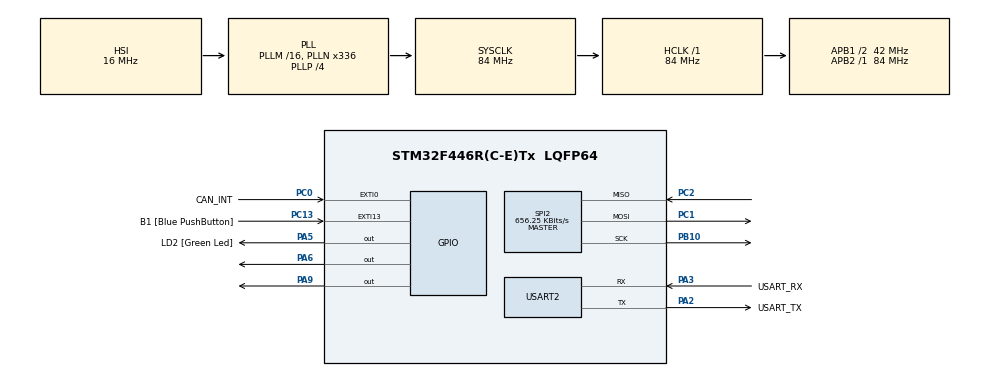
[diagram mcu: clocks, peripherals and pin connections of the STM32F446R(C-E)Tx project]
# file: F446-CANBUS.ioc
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Mcu.Family=STM32F4
Mcu.Name=STM32F446R(C-E)Tx
Mcu.Package=LQFP64
NVIC.PriorityGroup=NVIC_PRIORITYGROUP_0
PA13.GPIO_Label=TMS
PA13.Mode=Serial_Wire
PA13.Signal=SYS_JTMS-SWDIO
PA14.GPIO_Label=TCK
PA14.Mode=Serial_Wire
PA14.Signal=SYS_JTCK-SWCLK
PA2.GPIO_Label=USART_TX
PA2.Mode=Asynchronous
PA2.Signal=USART2_TX
PA3.GPIO_Label=USART_RX
PA3.Mode=Asynchronous
PA3.Signal=USART2_RX
PA5.GPIO_Label=LD2 [Green Led]
PA5.Signal=GPIO_Output
PA6.Signal=GPIO_Output
PA9.Signal=GPIO_Output
PB10.Mode=Full_Duplex_Master
PB10.Signal=SPI2_SCK
PB3.GPIO_Label=SWO
PB3.Signal=SYS_JTDO-SWO
PC0.GPIO_Label=CAN_INT
PC0.GPIO_ModeDefaultEXTI=GPIO_MODE_IT_RISING_FALLING
PC0.GPIO_PuPd=GPIO_NOPULL
PC0.Signal=GPXTI0
PC1.Mode=Full_Duplex_Master
PC1.Signal=SPI2_MOSI
PC13.GPIO_Label=B1 [Blue PushButton]
PC13.GPIO_ModeDefaultEXTI=GPIO_MODE_IT_FALLING
PC13.Signal=GPXTI13
PC14-OSC32_IN.Mode=LSE-External-Oscillator
PC14-OSC32_IN.Signal=RCC_OSC32_IN
PC15-OSC32_OUT.Mode=LSE-External-Oscillator
PC15-OSC32_OUT.Signal=RCC_OSC32_OUT
PC2.Mode=Full_Duplex_Master
PC2.Signal=SPI2_MISO
PH0-OSC_IN.Mode=HSE-External-Oscillator
PH0-OSC_IN.Signal=RCC_OSC_IN
PH1-OSC_OUT.Mode=HSE-External-Oscillator
PH1-OSC_OUT.Signal=RCC_OSC_OUT
ProjectManager.HeapSize=0x200
ProjectManager.StackSize=0x400
ProjectManager.TargetToolchain=STM32CubeIDE
RCC.48MHZClocksFreq_Value=84000000
RCC.AHBFreq_Value=84000000
RCC.APB1CLKDivider=RCC_HCLK_DIV2
RCC.APB1Freq_Value=42000000
RCC.APB1TimFreq_Value=84000000
RCC.APB2Freq_Value=84000000
RCC.APB2TimFreq_Value=84000000
RCC.CortexFreq_Value=84000000
RCC.FLatency-AdvancedSettings=FLASH_LATENCY_2
RCC.HCLKFreq_Value=84000000
RCC.HSE_VALUE=8000000
RCC.HSI_VALUE=16000000
RCC.PLLN=336
RCC.PLLP=RCC_PLLP_DIV4
RCC.SYSCLKFreq_VALUE=84000000
RCC.SYSCLKSource=RCC_SYSCLKSOURCE_PLLCLK
RCC.USBFreq_Value=168000000
RCC.VCOOutputFreq_Value=336000000
SPI2.BaudRatePrescaler=SPI_BAUDRATEPRESCALER_64
SPI2.CalculateBaudRate=656.25 KBits/s
SPI2.Direction=SPI_DIRECTION_2LINES
SPI2.Mode=SPI_MODE_MASTER
SPI2.VirtualType=VM_MASTER
USART2.VirtualMode=VM_ASYNC
board=NUCLEO-F446RE

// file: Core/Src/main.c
/* USER CODE BEGIN Header */
/**
  ******************************************************************************
  * @file           : main.c
  * @brief          : Main program body
  ******************************************************************************
  * @attention
  *
  * Copyright (c) 2023 STMicroelectronics.
  * All rights reserved.
  *
  * This software is licensed under terms that can be found in the LICENSE file
  * in the root directory of this software component.
  * If no LICENSE file comes with this software, it is provided AS-IS.
  *
  ******************************************************************************
  */
/* USER CODE END Header */
#include "main.h"

/* USER CODE BEGIN Includes */
#include "InternalCommsModule.h"
#include "CANDriver.h"
#include "SerialDebugDriver.h"
#define DebugPrint(...) SerialPrintln(__VA_ARGS__)
/* USER CODE END Includes */

SPI_HandleTypeDef hspi2;

UART_HandleTypeDef huart2;

void SystemClock_Config(void);
static void MX_GPIO_Init(void);
static void MX_USART2_UART_Init(void);
static void MX_SPI2_Init(void);

int main(void)
{

  /* MCU Configuration--------------------------------------------------------*/

  /* Reset of all peripherals, Initializes the Flash interface and the Systick. */
  HAL_Init();

  /* Configure the system clock */
  SystemClock_Config();

  /* Initialize all configured peripherals */
  MX_GPIO_Init();
  MX_USART2_UART_Init();
  MX_SPI2_Init();

  /* Infinite loop */
  /* USER CODE BEGIN WHILE */
  IComms_Init();
  uint8_t testTxCounter = 0;
  while (1)
  {
	  HAL_Delay(1000);
	  DebugPrint("test");
	  iCommsMessage_t txMsg;
	txMsg.standardMessageID = CAN_THROTTLE;
	txMsg.dataLength = 4;
	txMsg.data[0] = 0;
	txMsg.data[1] = 0;
	txMsg.data[2] = 0;
	txMsg.data[3] = 4;
	/*txMsg.data[4] = 5;
	txMsg.data[5] = 6;
	txMsg.data[6] = 7;
	txMsg.data[7] = 8;*/
	testTxCounter++;
	if(testTxCounter == 10)
	{
		DebugPrint("Sending!");
		IComms_Transmit(&txMsg);
		testTxCounter =0;
	}

	IComms_Update();
	while(IComms_HasRxMessage())
	{
		iCommsMessage_t rxMsg;
		result_t ret = IComms_ReceiveNextMessage(&rxMsg);
		if(ret == RESULT_FAIL)
		{
			DebugPrint("#ICT: Error Retrieving next message");
		}
		else{
			DebugPrint("Standard ID: %d", rxMsg.standardMessageID);
			DebugPrint("DLC: %d", rxMsg.dataLength);
			for(uint8_t i=0; i<rxMsg.dataLength; i++) DebugPrint("Data[%d]: %d", i, rxMsg.data[i]);
		}

	}
    /* USER CODE END WHILE */

  }
}

void SystemClock_Config(void)
{
  RCC_OscInitTypeDef RCC_OscInitStruct = {0};
  RCC_ClkInitTypeDef RCC_ClkInitStruct = {0};

  /** Configure the main internal regulator output voltage
  */
  __HAL_RCC_PWR_CLK_ENABLE();
  __HAL_PWR_VOLTAGESCALING_CONFIG(PWR_REGULATOR_VOLTAGE_SCALE3);

  /** Initializes the RCC Oscillators according to the specified parameters
  * in the RCC_OscInitTypeDef structure.
  */
  RCC_OscInitStruct.OscillatorType = RCC_OSCILLATORTYPE_HSI;
  RCC_OscInitStruct.HSIState = RCC_HSI_ON;
  RCC_OscInitStruct.HSICalibrationValue = RCC_HSICALIBRATION_DEFAULT;
  RCC_OscInitStruct.PLL.PLLState = RCC_PLL_ON;
  RCC_OscInitStruct.PLL.PLLSource = RCC_PLLSOURCE_HSI;
  RCC_OscInitStruct.PLL.PLLM = 16;
  RCC_OscInitStruct.PLL.PLLN = 336;
  RCC_OscInitStruct.PLL.PLLP = RCC_PLLP_DIV4;
  RCC_OscInitStruct.PLL.PLLQ = 2;
  RCC_OscInitStruct.PLL.PLLR = 2;
  if (HAL_RCC_OscConfig(&RCC_OscInitStruct) != HAL_OK)
  {
    Error_Handler();
  }

  /** Initializes the CPU, AHB and APB buses clocks
  */
  RCC_ClkInitStruct.ClockType = RCC_CLOCKTYPE_HCLK|RCC_CLOCKTYPE_SYSCLK
                              |RCC_CLOCKTYPE_PCLK1|RCC_CLOCKTYPE_PCLK2;
  RCC_ClkInitStruct.SYSCLKSource = RCC_SYSCLKSOURCE_PLLCLK;
  RCC_ClkInitStruct.AHBCLKDivider = RCC_SYSCLK_DIV1;
  RCC_ClkInitStruct.APB1CLKDivider = RCC_HCLK_DIV2;
  RCC_ClkInitStruct.APB2CLKDivider = RCC_HCLK_DIV1;

  if (HAL_RCC_ClockConfig(&RCC_ClkInitStruct, FLASH_LATENCY_2) != HAL_OK)
  {
    Error_Handler();
  }
}

static void MX_SPI2_Init(void)
{

  /* SPI2 parameter configuration*/
  hspi2.Instance = SPI2;
  hspi2.Init.Mode = SPI_MODE_MASTER;
  hspi2.Init.Direction = SPI_DIRECTION_2LINES;
  hspi2.Init.DataSize = SPI_DATASIZE_8BIT;
  hspi2.Init.CLKPolarity = SPI_POLARITY_LOW;
  hspi2.Init.CLKPhase = SPI_PHASE_1EDGE;
  hspi2.Init.NSS = SPI_NSS_SOFT;
  hspi2.Init.BaudRatePrescaler = SPI_BAUDRATEPRESCALER_64;
  hspi2.Init.FirstBit = SPI_FIRSTBIT_MSB;
  hspi2.Init.TIMode = SPI_TIMODE_DISABLE;
  hspi2.Init.CRCCalculation = SPI_CRCCALCULATION_DISABLE;
  hspi2.Init.CRCPolynomial = 10;
  if (HAL_SPI_Init(&hspi2) != HAL_OK)
  {
    Error_Handler();
  }

}

static void MX_USART2_UART_Init(void)
{

  huart2.Instance = USART2;
  huart2.Init.BaudRate = 115200;
  huart2.Init.WordLength = UART_WORDLENGTH_8B;
  huart2.Init.StopBits = UART_STOPBITS_1;
  huart2.Init.Parity = UART_PARITY_NONE;
  huart2.Init.Mode = UART_MODE_TX_RX;
  huart2.Init.HwFlowCtl = UART_HWCONTROL_NONE;
  huart2.Init.OverSampling = UART_OVERSAMPLING_16;
  if (HAL_UART_Init(&huart2) != HAL_OK)
  {
    Error_Handler();
  }

}

static void MX_GPIO_Init(void)
{
  GPIO_InitTypeDef GPIO_InitStruct = {0};

  /* GPIO Ports Clock Enable */
  __HAL_RCC_GPIOC_CLK_ENABLE();
  __HAL_RCC_GPIOH_CLK_ENABLE();
  __HAL_RCC_GPIOA_CLK_ENABLE();
  __HAL_RCC_GPIOB_CLK_ENABLE();

  /*Configure GPIO pin Output Level */
  HAL_GPIO_WritePin(GPIOA, LD2_Pin|GPIO_PIN_6|GPIO_PIN_9, GPIO_PIN_RESET);

  /*Configure GPIO pin : B1_Pin */
  GPIO_InitStruct.Pin = B1_Pin;
  GPIO_InitStruct.Mode = GPIO_MODE_IT_FALLING;
  GPIO_InitStruct.Pull = GPIO_NOPULL;
  HAL_GPIO_Init(B1_GPIO_Port, &GPIO_InitStruct);

  /*Configure GPIO pin : CAN_INT_Pin */
  GPIO_InitStruct.Pin = CAN_INT_Pin;
  GPIO_InitStruct.Mode = GPIO_MODE_IT_RISING_FALLING;
  GPIO_InitStruct.Pull = GPIO_NOPULL;
  HAL_GPIO_Init(CAN_INT_GPIO_Port, &GPIO_InitStruct);

  /*Configure GPIO pins : LD2_Pin PA6 PA9 */
  GPIO_InitStruct.Pin = LD2_Pin|GPIO_PIN_6|GPIO_PIN_9;
  GPIO_InitStruct.Mode = GPIO_MODE_OUTPUT_PP;
  GPIO_InitStruct.Pull = GPIO_NOPULL;
  GPIO_InitStruct.Speed = GPIO_SPEED_FREQ_LOW;
  HAL_GPIO_Init(GPIOA, &GPIO_InitStruct);

}

/* USER CODE BEGIN 4 */

void IComms_AddIncomingMessageToQueue(){
	uint8_t test= 1;
}

// TEMPORARY! PUT INTO FILE FOR CALLBACKS!
void HAL_GPIO_EXTI_Callback(uint16_t GPIO_Pin){
	HAL_GPIO_TogglePin(GPIOA, GPIO_PIN_6);
	if(GPIO_Pin == GPIO_PIN_0){
		//HAL_GPIO_TogglePin(GPIOA, GPIO_PIN_6);
	}
}
/* USER CODE END 4 */

void Error_Handler(void)
{
  __disable_irq();
  while (1)
  {
  }
}
